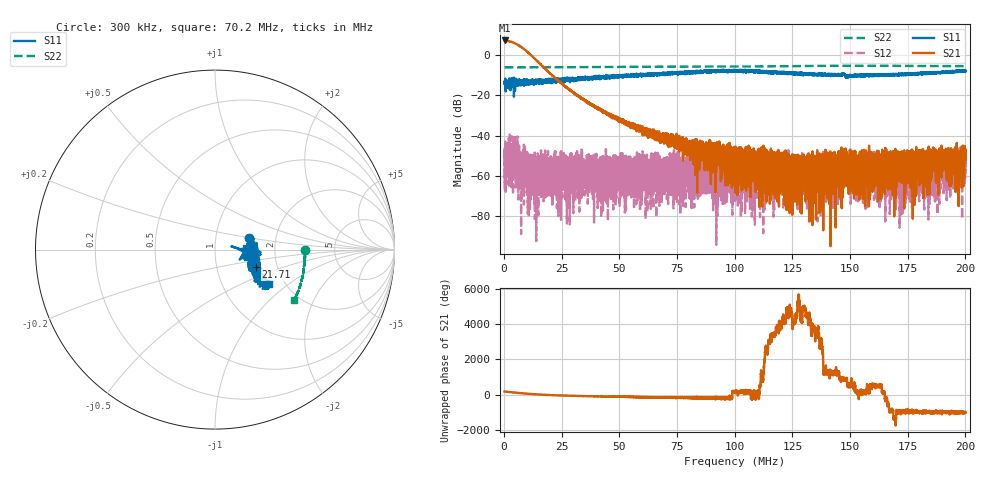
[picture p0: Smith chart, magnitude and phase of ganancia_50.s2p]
# Hz S DB R 50
! CMT, M5065, 19127446, 24.2.4/2
! Date: 11/8/2024 6:46:16 PM
! Data: Format (Calibration Info)
! Freq	S11:dB/Ang(F2)	S21:dB/Ang(F2)	S12:dB/Ang(F2)	S22:dB/Ang(F2)
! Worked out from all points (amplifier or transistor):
!   9000 points, 300 kHz to 200 MHz, reference 50 ohm
!   highest |S21| = 7.4 dB at 344.4 kHz (marker M1)
!   |S21| within 3 dB of that: start of sweep to 7.134 MHz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
!   unconditionally stable (mu >= 1): start of sweep to end of sweep
!   at 33.59 MHz: K = 4333.52, MAG = -19.6 dB, |S12| = -60.8 dB
!   at 100.2 MHz: K = 27833.28, MAG = -45.0 dB, |S12| = -52.0 dB
!   at 200 MHz: K = 44701.92, MAG = -45.0 dB, |S12| = -56.2 dB
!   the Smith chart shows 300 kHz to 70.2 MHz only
!   S11 on the Smith chart (normalised r, x): 300 kHz: 1.45, +0.19; 21.71 MHz: 1.55, -0.31; 70.2 MHz: 1.66, -0.73
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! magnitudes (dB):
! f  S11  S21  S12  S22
! 300 kHz  -14.1  7.4  -51.5  -6.0
! 344.4 kHz  -12.9  7.4  -60.3  -6.0
! 4.428 MHz  -14.8  6.2  -48.4  -6.0
! 8.045 MHz  -14.2  3.7  -60.3  -6.0
! 21.71 MHz  -12.2  -10.8  -57.6  -5.9
! 33.59 MHz  -11.3  -21.2  -60.8  -5.9
! 66.87 MHz  -9.2  -39.5  -59.3  -5.7
! 70.2 MHz  -9.0  -42.0  -63.4  -5.6
! 100.2 MHz  -8.0  -47.2  -52.0  -5.6
! 117.4 MHz  -8.3  -48.9  -61.5  -5.5
! 119.2 MHz  -8.3  -63.9  -56.6  -5.4
! 128.8 MHz  -9.3  -67.1  -71.0  -5.3
! 131.4 MHz  -9.2  -56.5  -52.9  -5.3
! 133.4 MHz  -9.0  -62.1  -58.3  -5.3
! 141 MHz  -9.9  -54.4  -56.4  -5.2
! 147.5 MHz  -9.3  -53.0  -52.6  -5.2
! 151 MHz  -10.3  -51.0  -50.4  -5.2
! 166.7 MHz  -9.9  -52.2  -56.4  -5.2
! 172.1 MHz  -9.7  -52.1  -63.8  -5.2
! 174.1 MHz  -9.7  -64.6  -51.4  -5.3
! 197.9 MHz  -7.6  -57.8  -55.1  -5.4
! 200 MHz  -8.1  -47.2  -56.2  -5.4
